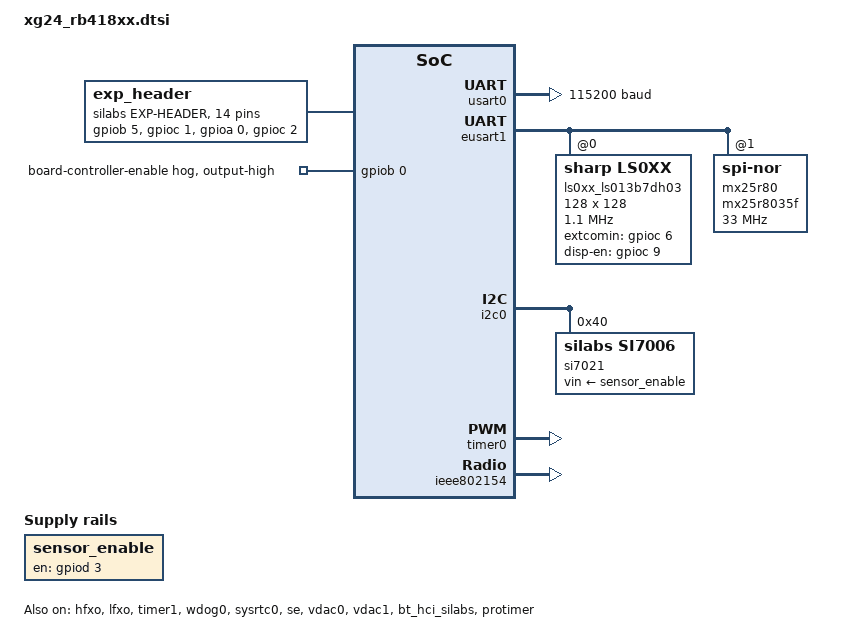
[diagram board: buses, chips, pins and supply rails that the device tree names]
/*
 * Copyright (c) 2023 Fr. Sauter AG
 * Copyright (c) 2023 Antmicro <www.antmicro.com>
 * Copyright (c) 2026 Silicon Laboratories Inc.
 *
 * SPDX-License-Identifier: Apache-2.0
 */

#include <silabs/xg24/clock-hfrcodpll.dtsi>
#include <silabs/xg24/clock-lfxo.dtsi>
#include <zephyr/dt-bindings/input/input-event-codes.h>
#include <zephyr/dt-bindings/pwm/pwm.h>
#include <zephyr/dt-bindings/regulator/silabs_dcdc.h>
#include <zephyr/dt-bindings/pinctrl/silabs/xg24-pinctrl.h>

/ {
	chosen {
		zephyr,bt-hci = &bt_hci_silabs;
		zephyr,code-partition = &slot0_partition;
		zephyr,console = &usart0;
		zephyr,display = &ls0xx_ls013b7dh03;
		zephyr,flash = &flash0;
		zephyr,ieee802154 = &ieee802154;
		zephyr,openthread-counter = &protimer;
		zephyr,shell-uart = &usart0;
		zephyr,sram = &sram0;
		zephyr,uart-pipe = &usart0;
	};

	/* These aliases are provided for compatibility with samples */
	aliases {
		dht0 = &si7021;
		led0 = &led0;
		led1 = &led1;
		pwm-led0 = &pwm_led0;
		pwm-led1 = &pwm_led1;
		spi-flash0 = &mx25r80;
		sw0 = &button0;
		sw1 = &button1;
		watchdog0 = &wdog0;
	};

	sensor_enable: sensor_enable {
		compatible = "regulator-fixed";
		enable-gpios = <&gpiod 3 GPIO_ACTIVE_HIGH>;
		regulator-name = "sensor_enable";
	};

	exp_header: exp-header {
		compatible = "silabs,exp-header";
		#gpio-cells = <2>;
		gpio-map = <3 0 &gpiob 5 0>,
			   <4 0 &gpioc 1 0>,
			   <5 0 &gpioa 0 0>,
			   <6 0 &gpioc 2 0>,
			   <7 0 &gpioa 5 0>,
			   <8 0 &gpioc 3 0>,
			   <9 0 &gpiod 2 0>,
			   <10 0 &gpioc 0 0>,
			   <11 0 &gpioa 6 0>,
			   <12 0 &gpioa 8 0>,
			   <13 0 &gpioa 7 0>,
			   <14 0 &gpioa 9 0>,
			   <15 0 &gpioc 5 0>,
			   <16 0 &gpioc 7 0>;
		gpio-map-mask = <0xffffffff 0x0>;
		gpio-map-pass-thru = <0x0 GPIO_DT_FLAGS_MASK>;
	};
};

&pinctrl {
	eusart1_default: eusart1_default {
		group0 {
			pins = <EUSART1_TX_PC1>, <EUSART1_SCLK_PC3>;
			drive-push-pull;
			output-high;
		};

		group1 {
			pins = <EUSART1_RX_PC2>;
			input-enable;
			silabs,input-filter;
		};
	};

	itm_default: itm_default {
		group0 {
			pins = <GPIO_SWV_PA3>;
			drive-push-pull;
			output-high;
		};
	};

	i2c0_default: i2c0_default {
		group0 {
			pins = <I2C0_SCL_PC5>, <I2C0_SDA_PC7>;
			drive-open-drain;
			bias-pull-up;
		};
	};

	pti_default: pti_default {
		group0 {
			pins = <PTI_DOUT_PD4>, <PTI_DFRAME_PD5>;
			drive-push-pull;
			output-high;
		};
	};

	usart0_default: usart0_default {
		group0 {
			pins = <USART0_TX_PA8>;
			drive-push-pull;
			output-high;
		};

		group1 {
			pins = <USART0_RX_PA9>;
			input-enable;
			silabs,input-filter;
		};
	};
};

&itm {
	pinctrl-0 = <&itm_default>;
	pinctrl-names = "default";
};

&hfxo {
	ctune = <95>;
	precision = <50>;
	status = "okay";
};

&lfxo {
	ctune = <44>;
	precision = <50>;
	status = "okay";
};

&usart0 {
	current-speed = <115200>;
	pinctrl-0 = <&usart0_default>;
	pinctrl-names = "default";
	status = "okay";
};

&eusart1 {
	compatible = "silabs,eusart-spi";
	#address-cells = <1>;
	#size-cells = <0>;
	clock-frequency = <DT_FREQ_M(10)>;
	pinctrl-0 = <&eusart1_default>;
	pinctrl-names = "default";
	status = "okay";

	cs-gpios = <&gpioc 8 GPIO_ACTIVE_HIGH>, <&gpioc 4 GPIO_ACTIVE_LOW>;

	ls0xx_ls013b7dh03: ls0xx@0 {
		compatible = "sharp,ls0xx";
		reg = <0>;
		height = <128>;
		spi-max-frequency = <DT_FREQ_K(1100)>;
		width = <128>;
		extcomin-gpios = <&gpioc 6 GPIO_ACTIVE_HIGH>;
		extcomin-frequency = <60>;
		disp-en-gpios = <&gpioc 9 GPIO_ACTIVE_HIGH>;
	};

	mx25r80: mx25r8035f@1 {
		compatible = "jedec,spi-nor";
		reg = <1>;
		dpd-wakeup-sequence = <30000 20 35000>;
		has-dpd;
		jedec-id = [c2 28 14];
		mxicy,mx25r-power-mode = "low-power";
		size = <DT_SIZE_M(8)>;
		spi-max-frequency = <DT_FREQ_M(33)>;
		zephyr,pm-device-runtime-auto;
	};
};

&i2c0 {
	pinctrl-0 = <&i2c0_default>;
	pinctrl-names = "default";
	status = "okay";

	si7021: si7021@40 {
		compatible = "silabs,si7006";
		reg = <0x40>;
		vin-supply = <&sensor_enable>;
	};
};

&timer0 {
	status = "okay";

	timer0_pwm: pwm {
		pinctrl-0 = <&timer0_default>;
		pinctrl-names = "default";
		status = "okay";
	};
};

&timer1 {
	status = "okay";

	timer1_counter: counter {
		status = "okay";
	};
};

&gpio {
	status = "okay";
};

&gpioa {
	status = "okay";
};

&gpiob {
	status = "okay";

	board-controller-enable {
		gpio-hog;
		gpios = <0 GPIO_ACTIVE_HIGH>;
		output-high;
	};
};

&gpioc {
	status = "okay";
};

&gpiod {
	status = "okay";
};

&wdog0 {
	status = "okay";
};

&sysrtc0 {
	status = "okay";
};

&se {
	status = "okay";
};

&dcdc {
	regulator-boot-on;
	regulator-initial-mode = <SILABS_DCDC_MODE_BUCK>;
	silabs,pfmx-peak-current-milliamp = <100>;
	status = "okay";
};

&flash0 {
	partitions {
		ranges;
		#address-cells = <1>;
		#size-cells = <1>;

		/* Reserve 48 kB for the bootloader */
		boot_partition: partition@0 {
			compatible = "zephyr,mapped-partition";
			reg = <0x0 DT_SIZE_K(48)>;
			label = "mcuboot";
			read-only;
		};

		/* Reserve 728 kB for the application in slot 0 */
		slot0_partition: partition@c000 {
			compatible = "zephyr,mapped-partition";
			reg = <0x0000c000 DT_SIZE_K(728)>;
			label = "image-0";
		};

		/* Reserve 728 kB for the application in slot 1 */
		slot1_partition: partition@c2000 {
			compatible = "zephyr,mapped-partition";
			reg = <0x000c2000 DT_SIZE_K(728)>;
			label = "image-1";
		};

		/* Set 32 kB of storage at the end of the 1536 kB of flash */
		storage_partition: partition@178000 {
			compatible = "zephyr,mapped-partition";
			reg = <0x00178000 DT_SIZE_K(32)>;
			label = "storage";
		};
	};
};

&vdac0 {
	status = "okay";
};

&vdac1 {
	status = "okay";
};

&bt_hci_silabs {
	status = "okay";
};

&protimer {
	status = "okay";
};

&ieee802154 {
	status = "okay";
	hfxo = <&hfxo>;
	sleep-clock = <&lfxo>;
};
